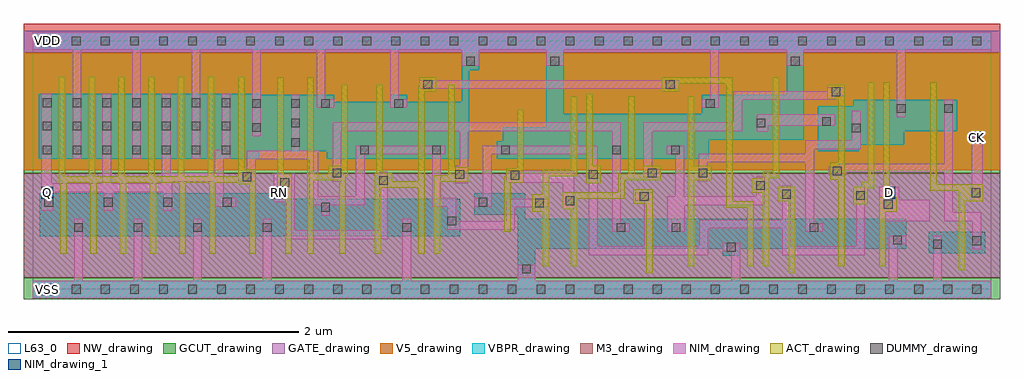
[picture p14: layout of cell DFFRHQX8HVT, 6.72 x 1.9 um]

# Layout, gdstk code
import gdstk
lib = gdstk.Library(unit=1e-6, precision=5e-10)
def R(c, l, rs):  # rectangles x0, y0, x1, y1
    for r in rs: c.add(gdstk.rectangle(r[:2], r[2:], *l))
def A(c, l, x, y, w, h, nx, ny, dx, dy):  # array of equal rectangles
    R(c, l, [(x+i*dx, y+j*dy, x+i*dx+w, y+j*dy+h) for i in range(nx) for j in range(ny)])
def P(c, l, *ps):  # polygons
    for p in ps: c.add(gdstk.Polygon(p, *l))
VBPR_drawing = (1, 0)
NW_drawing = (2, 0)
ACT_drawing = (3, 0)
GATE_drawing = (4, 0)
GCUT_drawing = (5, 0)
DUMMY_drawing = (6, 0)
NIM_drawing = (7, 0)
NIM_drawing_1 = (7, 1)
M3_drawing = (18, 0)
V5_drawing = (23, 0)
L63_0 = (63, 0)

dffrhqx8hvt = lib.new_cell('DFFRHQX8HVT')
R(dffrhqx8hvt, VBPR_drawing, [(0,-0.06,6.6,0.06), (6.17,0.25,6.56,0.395), (0,1.65,6.6,1.77)])
P(dffrhqx8hvt, VBPR_drawing, [(5.31,1.65),(5.19,1.65),(5.19,1.34),(4.605,1.34),(4.605,1.21),(3.655,1.21),(3.655,1.65),(3.535,1.65),(3.535,1.115),(3.235,1.115),(3.235,1.02),(3.195,1.02),(3.195,0.9),(4.655,0.9),(4.655,1.03),(5.31,1.03)],
  [(5.65,1.305),(6.365,1.305),(6.365,1.09),(6,1.09),(6,0.995),(5.69,0.995),(5.69,0.95),(5.405,0.95),(5.405,1.26),(5.65,1.26)],
  [(0.05,0.66),(1.635,0.66),(1.635,0.625),(2.945,0.625),(2.945,0.365),(0.05,0.365)],
  [(6.015,0.485),(3.39,0.485),(3.39,0.66),(3.04,0.66),(3.04,0.515),(3.34,0.515),(3.34,0.06),(3.46,0.06),(3.46,0.28),(4.75,0.28),(4.75,0.23),(4.87,0.23),(4.87,0.28),(6.015,0.28)],
  [(3.075,1.65),(2.955,1.65),(2.955,1.29),(2.58,1.29),(2.58,1.34),(2.46,1.34),(2.46,1.29),(2.075,1.29),(2.075,1.34),(1.56,1.34),(1.56,1.345),(0.04,1.345),(0.04,0.9),(1.56,0.9),(1.56,0.95),(2.025,0.95),(2.025,0.9),(3.005,0.9),(3.005,1.51),(3.075,1.51)])
R(dffrhqx8hvt, NW_drawing, [(-0.06,0.82,6.66,1.83)])
P(dffrhqx8hvt, ACT_drawing, [(0.18,1.465),(0.225,1.465),(0.225,0.78),(0.385,0.78),(0.385,1.465),(0.43,1.465),(0.43,0.78),(0.59,0.78),(0.59,1.465),(0.635,1.465),(0.635,0.78),(0.795,0.78),(0.795,1.465),(0.84,1.465),(0.84,0.78),(1,0.78),(1,1.465),(1.045,1.465),(1.045,0.78),(1.205,0.78),(1.205,1.465),(1.25,1.465),(1.25,0.78),(1.415,0.78),(1.415,1.465),(1.46,1.465),(1.46,0.825),(1.535,0.825),(1.535,0.245),(1.49,0.245),(1.49,0.725),(1.415,0.725),(1.415,0.735),(1.26,0.735),(1.26,0.245),(1.215,0.245),(1.215,0.735),(1.055,0.735),(1.055,0.245),(1.01,0.245),(1.01,0.735),(0.85,0.735),(0.85,0.245),(0.805,0.245),(0.805,0.735),(0.645,0.735),(0.645,0.245),(0.6,0.245),(0.6,0.735),(0.44,0.735),(0.44,0.245),(0.395,0.245),(0.395,0.735),(0.235,0.735),(0.235,0.245),(0.19,0.245),(0.19,0.735),(0.18,0.735)],
  [(1.685,1.46),(1.73,1.46),(1.73,0.795),(1.785,0.795),(1.785,0.245),(1.74,0.245),(1.74,0.675),(1.685,0.675)],
  [(1.89,1.46),(1.935,1.46),(1.935,0.795),(2.035,0.795),(2.035,0.85),(2.125,0.85),(2.125,1.41),(2.17,1.41),(2.17,0.78),(2.155,0.78),(2.155,0.245),(2.11,0.245),(2.11,0.75),(1.935,0.75),(1.935,0.245),(1.89,0.245)],
  [(2.66,1.46),(2.78,1.46),(2.78,1.36),(2.7,1.36),(2.7,0.245),(2.655,0.245),(2.655,0.7),(2.4,0.7),(2.4,0.245),(2.355,0.245),(2.355,0.8),(2.365,0.8),(2.365,1.41),(2.41,1.41),(2.41,0.8),(2.475,0.8),(2.475,0.745),(2.655,0.745),(2.655,1.41),(2.66,1.41)],
  [(2.86,1.41),(2.905,1.41),(2.905,0.84),(3,0.84),(3,0.74),(2.805,0.74),(2.805,0.245),(2.76,0.245),(2.76,0.785),(2.86,0.785)],
  [(4.33,1.46),(4.82,1.46),(4.82,0.605),(4.965,0.605),(4.965,0.16),(4.92,0.16),(4.92,0.56),(4.775,0.56),(4.775,1.415),(4.45,1.415),(4.45,1.36),(4.33,1.36)],
  [(3.705,1.33),(3.75,1.33),(3.75,0.78),(3.555,0.78),(3.555,0.16),(3.51,0.16),(3.51,0.535),(3.44,0.535),(3.44,0.655),(3.51,0.655),(3.51,0.825),(3.705,0.825)],
  [(3.81,1.345),(3.855,1.345),(3.855,0.85),(3.91,0.85),(3.91,0.73),(3.81,0.73)],
  [(3.335,1.235),(3.38,1.235),(3.38,0.735),(3.29,0.735),(3.29,0.395),(3.245,0.395),(3.245,0.78),(3.26,0.78),(3.26,0.835),(3.335,0.835)],
  [(4.1,1.33),(4.145,1.33),(4.145,0.795),(4.205,0.795),(4.205,0.85),(4.325,0.85),(4.325,0.75),(4.075,0.75),(4.075,0.625),(3.75,0.625),(3.75,0.16),(3.705,0.16),(3.705,0.55),(3.65,0.55),(3.65,0.67),(4.03,0.67),(4.03,0.795),(4.1,0.795)],
  [(4.51,1.33),(4.555,1.33),(4.555,0.85),(4.675,0.85),(4.675,0.75),(4.555,0.75),(4.555,0.16),(4.51,0.16)],
  [(5.095,1.46),(5.14,1.46),(5.14,0.765),(5.07,0.765),(5.07,0.16),(5.025,0.16),(5.025,0.665),(4.95,0.665),(4.95,0.765),(5.025,0.765),(5.025,0.81),(5.095,0.81)],
  [(5.47,1.41),(5.59,1.41),(5.59,0.16),(5.545,0.16),(5.545,0.755),(5.49,0.755),(5.49,0.875),(5.545,0.875),(5.545,1.31),(5.47,1.31)],
  [(5.75,1.425),(5.795,1.425),(5.795,0.695),(5.75,0.695),(5.75,0.585),(5.65,0.585),(5.65,0.705),(5.705,0.705),(5.705,0.74),(5.75,0.74)],
  [(5.855,1.425),(5.9,1.425),(5.9,0.635),(5.95,0.635),(5.95,0.535),(5.875,0.535),(5.875,0.16),(5.83,0.16),(5.83,0.635),(5.855,0.635)],
  [(6.18,1.425),(6.225,1.425),(6.225,0.725),(6.545,0.725),(6.545,0.605),(6.42,0.605),(6.42,0.13),(6.375,0.13),(6.375,0.68),(6.18,0.68)],
  [(4.135,0.69),(4.27,0.69),(4.27,0.11),(4.225,0.11),(4.225,0.59),(4.135,0.59)],
  [(5.13,0.705),(5.25,0.705),(5.25,0.11),(5.205,0.11),(5.205,0.605),(5.13,0.605)])
R(dffrhqx8hvt, GATE_drawing, [(-0.06,0.08,6.66,0.8), (-0.06,1.63,6.66,1.78)])
R(dffrhqx8hvt, GCUT_drawing, [(-0.06,-0.07,6.66,0.08), (-0.06,0.8,6.66,1.63)])
A(dffrhqx8hvt, DUMMY_drawing, 0.07, -0.03, 0.06, 0.06, 33, 2, 0.2, 1.71)
A(dffrhqx8hvt, DUMMY_drawing, 0.285, 0.395, 0.06, 0.06, 3, 1, 0.41, 0)
A(dffrhqx8hvt, DUMMY_drawing, 0.08, 0.57, 0.06, 0.06, 4, 1, 0.41, 0)
A(dffrhqx8hvt, DUMMY_drawing, 0.07, 0.93, 0.06, 0.06, 7, 2, 0.205, 0.165)
A(dffrhqx8hvt, DUMMY_drawing, 1.78, 0.98, 0.06, 0.06, 1, 3, 0, 0.135)
A(dffrhqx8hvt, DUMMY_drawing, 0.07, 1.255, 0.06, 0.06, 7, 1, 0.205, 0)
R(dffrhqx8hvt, DUMMY_drawing, [(3.37,0.11,3.43,0.17), (4.78,0.26,4.84,0.32), (6.2,0.28,6.26,0.34), (6.47,0.305,6.53,0.365), (5.925,0.31,5.985,0.37), (1.585,0.395,1.645,0.455), (2.545,0.395,2.605,0.455), (4.02,0.395,4.08,0.455), (4.4,0.395,4.46,0.455), (5.35,0.395,5.41,0.455), (2.855,0.44,2.915,0.5), (1.985,0.535,2.045,0.595), (5.86,0.555,5.92,0.615), (3.46,0.565,3.52,0.625), (3.07,0.57,3.13,0.63), (3.67,0.58,3.73,0.64), (4.18,0.61,4.24,0.67), (5.67,0.615,5.73,0.675), (5.16,0.625,5.22,0.685), (6.465,0.635,6.525,0.695), (4.98,0.685,5.04,0.745), (1.705,0.705,1.765,0.765), (2.385,0.72,2.445,0.78), (1.445,0.745,1.505,0.805), (3.29,0.755,3.35,0.815), (2.91,0.76,2.97,0.82), (3.83,0.76,3.89,0.82), (2.065,0.77,2.125,0.83), (4.235,0.77,4.295,0.83), (4.585,0.77,4.645,0.83), (5.51,0.785,5.57,0.845), (2.255,0.93,2.315,0.99), (2.75,0.93,2.81,0.99), (3.225,0.93,3.285,0.99), (3.99,0.93,4.05,0.99), (4.395,0.93,4.455,0.99), (5.64,1.08,5.7,1.14), (1.51,1.085,1.57,1.145), (4.985,1.115,5.045,1.175), (5.435,1.125,5.495,1.185), (5.95,1.215,6.01,1.275), (6.275,1.215,6.335,1.275), (1.51,1.25,1.57,1.31), (1.985,1.25,2.045,1.31), (2.49,1.25,2.55,1.31), (4.635,1.25,4.695,1.31), (5.5,1.33,5.56,1.39), (2.69,1.38,2.75,1.44), (4.36,1.38,4.42,1.44), (2.985,1.54,3.045,1.6), (3.565,1.54,3.625,1.6), (5.22,1.54,5.28,1.6)])
A(dffrhqx8hvt, NIM_drawing, 0.285, 0.06, 0.06, 0.425, 3, 1, 0.41, 0)
A(dffrhqx8hvt, NIM_drawing, 0.275, 0.9, 0.06, 0.75, 3, 1, 0.41, 0)
R(dffrhqx8hvt, NIM_drawing, [(1.585,0.06,1.645,0.485), (2.545,0.06,2.605,0.485), (3.34,0.06,3.46,0.17), (6.2,0.06,6.26,0.37), (6.465,0.605,6.54,1.085), (1.51,1.055,1.57,1.65), (5.95,1.185,6.01,1.65), (2.66,1.38,4.45,1.44), (2.955,1.54,3.075,1.65), (3.535,1.54,3.655,1.65), (5.19,1.54,5.31,1.65)])
P(dffrhqx8hvt, NIM_drawing, [(2.075,1.31),(2.015,1.31),(2.015,1.65),(1.955,1.65),(1.955,1.25),(2.075,1.25)],
  [(2.58,1.31),(2.52,1.31),(2.52,1.65),(2.46,1.65),(2.46,1.25),(2.58,1.25)],
  [(4.725,1.65),(4.665,1.65),(4.665,1.31),(4.605,1.31),(4.605,1.25),(4.725,1.25)],
  [(4.87,0.32),(4.75,0.32),(4.75,0.26),(4.81,0.26),(4.81,0.06),(4.87,0.06)],
  [(6.015,0.37),(5.895,0.37),(5.895,0.06),(5.955,0.06),(5.955,0.31),(6.015,0.31)],
  [(0.06,1.345),(0.13,1.345),(0.13,0.73),(0.48,0.73),(0.48,1.345),(0.54,1.345),(0.54,0.73),(0.89,0.73),(0.89,1.345),(0.95,1.345),(0.95,0.8),(1.255,0.8),(1.255,0.96),(1.3,0.96),(1.3,1.345),(1.36,1.345),(1.36,0.9),(1.315,0.9),(1.315,0.63),(1.4,0.63),(1.4,0.57),(1.255,0.57),(1.255,0.74),(0.96,0.74),(0.96,0.54),(0.9,0.54),(0.9,0.67),(0.55,0.67),(0.55,0.54),(0.49,0.54),(0.49,0.67),(0.14,0.67),(0.14,0.54),(0.06,0.54)],
  [(1.78,1.34),(1.84,1.34),(1.84,0.955),(1.965,0.955),(1.965,0.64),(2.225,0.64),(2.225,0.99),(2.84,0.99),(2.84,0.93),(2.81,0.93),(2.81,0.63),(2.915,0.63),(2.915,0.47),(3.26,0.47),(3.26,0.625),(3.55,0.625),(3.55,0.565),(3.32,0.565),(3.32,0.41),(2.855,0.41),(2.855,0.57),(2.75,0.57),(2.75,0.93),(2.285,0.93),(2.285,0.58),(2.045,0.58),(2.045,0.505),(1.985,0.505),(1.985,0.58),(1.905,0.58),(1.905,0.895),(1.535,0.895),(1.535,0.745),(1.415,0.745),(1.415,0.805),(1.475,0.805),(1.475,0.955),(1.78,0.955)],
  [(5.47,1.39),(5.59,1.39),(5.59,1.33),(5.53,1.33),(5.53,1.305),(4.885,1.305),(4.885,1.09),(4.265,1.09),(4.265,0.83),(4.325,0.83),(4.325,0.77),(4.205,0.77),(4.205,1.15),(4.825,1.15),(4.825,1.365),(5.47,1.365)],
  [(2.065,1.15),(4.05,1.15),(4.05,0.455),(4.11,0.455),(4.11,0.395),(3.99,0.395),(3.99,1.09),(3,1.09),(3,0.73),(2.91,0.73),(2.91,0.85),(2.94,0.85),(2.94,1.09),(2.125,1.09),(2.125,0.74),(2.065,0.74)],
  [(5.64,1.23),(5.7,1.23),(5.7,0.965),(5.38,0.965),(5.38,0.455),(5.44,0.455),(5.44,0.395),(5.32,0.395),(5.32,0.875),(4.645,0.875),(4.645,0.74),(4.585,0.74),(4.585,0.935),(5.32,0.935),(5.32,1.025),(5.64,1.025)],
  [(1.66,0.795),(1.805,0.795),(1.805,0.405),(2.385,0.405),(2.385,0.81),(2.445,0.81),(2.445,0.345),(1.745,0.345),(1.745,0.6),(1.66,0.6)],
  [(3.1,0.99),(3.89,0.99),(3.89,0.295),(4.21,0.295),(4.21,0.61),(4.15,0.61),(4.15,0.67),(4.27,0.67),(4.27,0.295),(4.59,0.295),(4.59,0.48),(5.16,0.48),(5.16,0.715),(5.22,0.715),(5.22,0.295),(5.67,0.295),(5.67,0.705),(5.73,0.705),(5.73,0.235),(5.16,0.235),(5.16,0.42),(4.65,0.42),(4.65,0.235),(3.83,0.235),(3.83,0.93),(3.16,0.93),(3.16,0.57),(3.04,0.57),(3.04,0.63),(3.1,0.63)],
  [(3.26,0.815),(3.73,0.815),(3.73,0.55),(3.65,0.55),(3.65,0.735),(3.26,0.735)],
  [(4.985,1.205),(5.525,1.205),(5.525,1.125),(5.065,1.125),(5.065,1.085),(4.985,1.085)],
  [(4.365,0.99),(4.485,0.99),(4.485,0.64),(4.98,0.64),(4.98,0.775),(5.04,0.775),(5.04,0.58),(4.49,0.58),(4.49,0.395),(4.37,0.395),(4.37,0.64),(4.425,0.64),(4.425,0.93),(4.365,0.93)],
  [(6.275,1.305),(6.335,1.305),(6.335,0.53),(6.53,0.53),(6.53,0.275),(6.47,0.275),(6.47,0.47),(6.275,0.47),(6.275,0.805),(5.6,0.805),(5.6,0.785),(5.48,0.785),(5.48,0.845),(5.54,0.845),(5.54,0.865),(6.275,0.865)],
  [(5.83,0.705),(5.965,0.705),(5.965,0.615),(6.175,0.615),(6.175,0.47),(5.83,0.47)])
R(dffrhqx8hvt, NIM_drawing_1, [(0.06,-0.04,0.14,0.04), (0.06,0.625,0.14,0.705), (1.66,0.625,1.74,0.705), (5.86,0.625,5.94,0.705), (6.46,1.005,6.54,1.085), (0.06,1.67,0.14,1.75)])
R(dffrhqx8hvt, M3_drawing, [(-0.06,0.08,6.66,0.8)])
R(dffrhqx8hvt, V5_drawing, [(-0.06,0.82,6.66,1.63)])
R(dffrhqx8hvt, L63_0, [(0,0,6.6,1.71)])
dffrhqx8hvt.add(gdstk.FlexPath([(0,0),(6.6,0)], 0.12, ends="flush", simple_path=True, layer=7, datatype=0))  # NIM_drawing
dffrhqx8hvt.add(gdstk.FlexPath([(0,1.71),(6.6,1.71)], 0.12, ends="flush", simple_path=True, layer=7, datatype=0))  # NIM_drawing
dffrhqx8hvt.add(gdstk.Label('CK', (6.5,1.045), layer=7, texttype=1))
dffrhqx8hvt.add(gdstk.Label('RN', (1.7,0.665), layer=7, texttype=1))
dffrhqx8hvt.add(gdstk.Label('D', (5.9,0.665), layer=7, texttype=1))
dffrhqx8hvt.add(gdstk.Label('Q', (0.1,0.665), layer=7, texttype=1))
dffrhqx8hvt.add(gdstk.Label('VDD', (0.1,1.71), layer=7, texttype=1))
dffrhqx8hvt.add(gdstk.Label('VSS', (0.1,0), layer=7, texttype=1))
dffrhqx8hvt.add(gdstk.Label('VSS', (0.1,0), layer=7, texttype=1))
dffrhqx8hvt.add(gdstk.Label('VDD', (0.1,1.71), layer=7, texttype=1))
dffrhqx8hvt.add(gdstk.Label('Q', (0.1,0.665), layer=7, texttype=1))
dffrhqx8hvt.add(gdstk.Label('D', (5.9,0.665), layer=7, texttype=1))
dffrhqx8hvt.add(gdstk.Label('RN', (1.7,0.665), layer=7, texttype=1))
dffrhqx8hvt.add(gdstk.Label('CK', (6.5,1.045), layer=7, texttype=1))
dffrhqx8hvt.add(gdstk.Label('DFFRHQX8', (0,0), layer=63, texttype=0))

lib.write_gds('DFFRHQX8HVT.gds')
